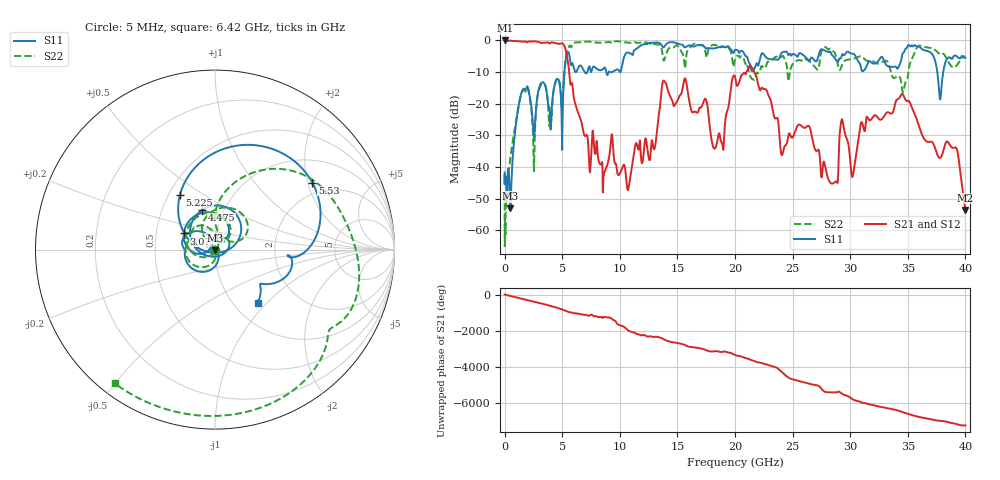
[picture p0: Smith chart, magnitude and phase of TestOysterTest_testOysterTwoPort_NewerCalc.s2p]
# MHz MA S R 50.0
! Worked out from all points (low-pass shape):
!   8000 points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, 5 MHz to 40 GHz, reference 50 ohm
!   highest |S21| = -0.01 dB at 35 MHz (marker M1); lowest = -53.5 dB at 40 GHz (marker M2)
!   |S21| within 3 dB of the highest: start of sweep to 5.308 GHz
!   lowest |S11| = -53.0 dB at 510 MHz (marker M3), VSWR 1.00, Z = 49.9 - j0.191 ohm
!   |S11| at or under -10 dB: start of sweep to 5.198 GHz; 6.954 GHz to 7.184 GHz (229.8 MHz wide, 3.25 % of centre); 37.56 GHz to 38.07 GHz (514.6 MHz wide, 1.36 % of centre) (the widest 3 of 8)
!   |S22| runs from -65.0 to -0.3 dB; largest |S21 - S12| = 0.0016
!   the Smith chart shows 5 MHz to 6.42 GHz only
!   S11 on the Smith chart (normalised r, x): 5 MHz: 0.98, -0.00; 3.07 GHz: 0.69, +0.13; 4.475 GHz: 0.79, +0.37; 5.225 GHz: 0.57, +0.40; 5.53 GHz: 1.63, +2.14; 6.42 GHz: 1.28, -0.88
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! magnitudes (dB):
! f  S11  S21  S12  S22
! 5 MHz  -41.7  -0.1  -0.1  -51.1
! 35 MHz  -44.2  0.0  0.0  -56.7
! 510 MHz  -53.0  -0.1  -0.1  -37.1
! 1.455 GHz  -16.6  -0.4  -0.4  -16.9
! 3.07 GHz  -14.2  -0.6  -0.6  -14.7
! 4.475 GHz  -12.7  -0.9  -0.9  -12.5
! 5.225 GHz  -8.8  -2.0  -2.0  -8.6
! 5.53 GHz  -3.6  -7.5  -7.5  -2.5
! 6.42 GHz  -8.4  -23.2  -23.2  -0.6
! 6.675 GHz  -8.2  -25.8  -25.8  -0.5
! 10.73 GHz  -3.8  -47.0  -47.0  -0.7
! 13.34 GHz  -0.7  -24.8  -24.8  -1.4
! 15.67 GHz  -2.1  -12.0  -12.0  -8.8
! 18.25 GHz  -2.5  -34.2  -34.2  -1.4
! 20 GHz  -3.0  -11.5  -11.5  -5.9
! 26.67 GHz  -5.4  -30.3  -30.3  -7.3
! 28.51 GHz  -4.9  -45.2  -45.2  -3.4
! 29.28 GHz  -4.7  -24.9  -24.9  -7.9
! 30.23 GHz  -4.2  -42.9  -42.9  -5.9
! 33.34 GHz  -8.3  -22.7  -22.7  -7.3
! 39.14 GHz  -4.8  -33.8  -33.8  -8.3
! 40 GHz  -5.6  -53.5  -53.5  -5.1
